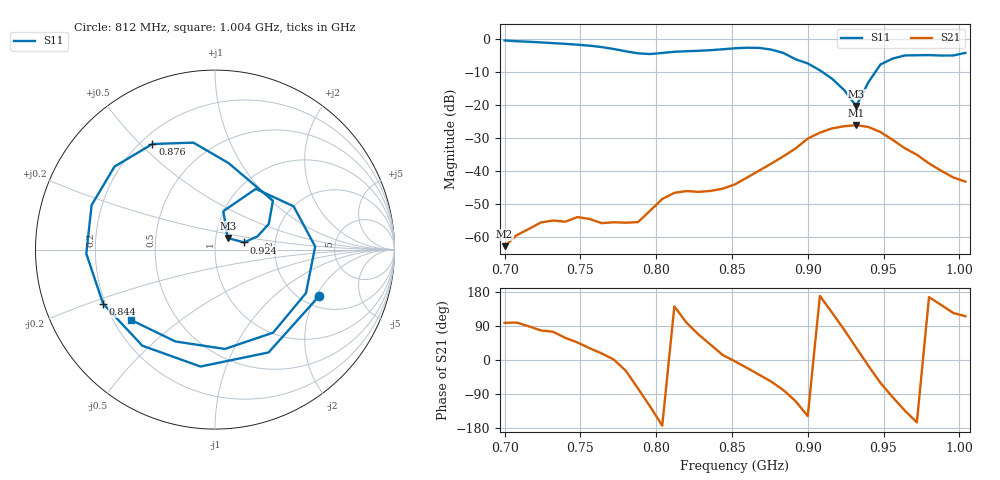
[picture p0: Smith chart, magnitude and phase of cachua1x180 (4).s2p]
# Hz S RI R 50
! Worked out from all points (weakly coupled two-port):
!   39 points, 700 MHz to 1.004 GHz, reference 50 ohm
!   highest |S21| = -26.17 dB at 932 MHz (marker M1); lowest = -62.8 dB at 700 MHz (marker M2)
!   lowest |S11| = -20.4 dB at 932 MHz (marker M3), VSWR 1.21, Z = 57.1 + j7.41 ohm
!   |S11| at or under -10 dB: 909.4 MHz to 944.7 MHz (35.36 MHz wide, 3.81 % of centre)
!   S12 and S22 are empty: the file has one direction only
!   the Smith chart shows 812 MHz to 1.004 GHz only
!   S11 on the Smith chart (normalised r, x): 812 MHz: 2.43, -2.12; 844 MHz: 0.19, -0.22; 876 MHz: 0.25, +0.54; 924 MHz: 1.38, +0.11; 1.004 GHz: 0.27, -0.34
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7e8  0.7615 0.5535  -0.000101 0.000714  0 0  0 0
7.24e8  0.8447 -0.2452  0.000342 0.00162  0 0  0 0
7.4e8  0.4598 -0.6991  0.000885 0.00144  0 0  0 0
7.56e8  -0.189 -0.7612  0.0016 0.000967  0 0  0 0
7.72e8  -0.6683 -0.2055  0.00166 3.65e-05  0 0  0 0
7.8e8  -0.6068 0.2166  0.00144 -0.00078  0 0  0 0
7.88e8  -0.2689 0.5376  0.000422 -0.00161  0 0  0 0
7.96e8  0.2241 0.5412  -0.00134 -0.00209  0 0  0 0
8.04e8  0.574 0.2041  -0.00371 -0.000433  0 0  0 0
8.12e8  0.5783 -0.2609  -0.00363 0.00288  0 0  0 0
8.28e8  -0.0809 -0.6515  0.00187 0.00442  0 0  0 0
8.44e8  -0.6235 -0.3016  0.00523 0.00119  0 0  0 0
8.52e8  -0.7171 -0.0223  0.00621 -0.000396  0 0  0 0
8.76e8  -0.3486 0.5885  0.00696 -0.0108  0 0  0 0
9e8  0.3227 0.2725  -0.0261 -0.0163  0 0  0 0
9.08e8  0.2999 0.1433  -0.0371 0.00712  0 0  0 0
9.24e8  0.1623 0.0401  0.00819 0.0465  0 0  0 0
9.32e8  0.0707 0.0643  0.0415 0.0263  0 0  0 0
9.56e8  0.438 0.2412  -0.00411 -0.0291  0 0  0 0
9.64e8  0.5581 0.0171  -0.0151 -0.016  0 0  0 0
9.8e8  0.3239 -0.4627  -0.0125 0.00313  0 0  0 0
1.004e9  -0.4682 -0.392  -0.00295 0.00618  0 0  0 0
